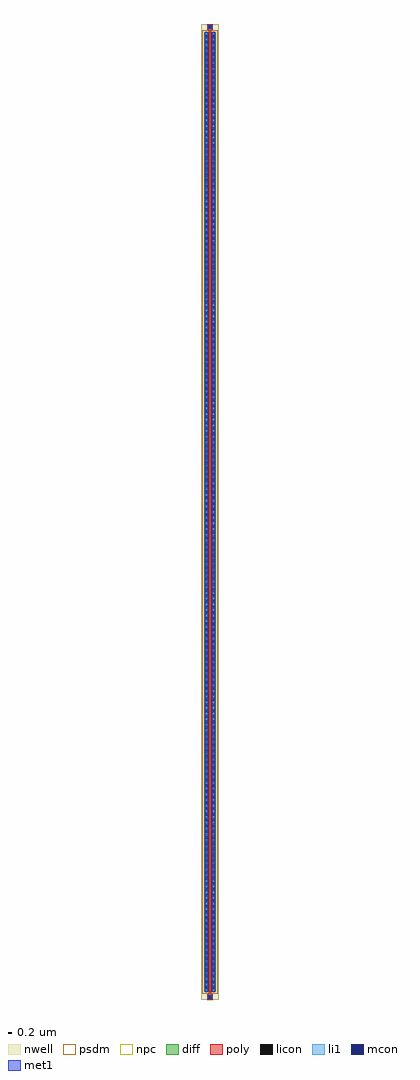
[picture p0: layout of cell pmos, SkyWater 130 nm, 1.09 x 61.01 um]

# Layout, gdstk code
import gdstk
lib = gdstk.Library(unit=1e-6, precision=1e-09)
def R(c, l, rs):  # rectangles x0, y0, x1, y1
    for r in rs: c.add(gdstk.rectangle(r[:2], r[2:], *l))
def A(c, l, x, y, w, h, nx, ny, dx, dy):  # array of equal rectangles
    R(c, l, [(x+i*dx, y+j*dy, x+i*dx+w, y+j*dy+h) for i in range(nx) for j in range(ny)])
nwell = (64, 20)
diff = (65, 20)
poly = (66, 20)
licon = (66, 44)
li1 = (67, 20)
mcon = (67, 44)
met1 = (68, 20)
psdm = (94, 20)
npc = (95, 20)

pmos = lib.new_cell('pmos')
R(pmos, nwell, [(0,0,1.09,61)])
R(pmos, diff, [(0.18,0.5,0.91,60.5)])
R(pmos, poly, [(0.38,0.015,0.71,0.345), (0.47,0.345,0.62,60.655), (0.38,60.655,0.71,60.985)])
A(pmos, licon, 0.24, 0.665, 0.17, 0.17, 1, 176, 0, 0.34)
A(pmos, licon, 0.68, 0.665, 0.17, 0.17, 1, 176, 0, 0.34)
R(pmos, licon, [(0.46,0.095,0.63,0.265), (0.46,60.735,0.63,60.905)])
R(pmos, li1, [(0.38,0.095,0.71,0.265), (0.24,0.48,0.41,60.52), (0.68,0.48,0.85,60.52), (0.38,60.735,0.71,60.905)])
A(pmos, mcon, 0.24, 0.715, 0.17, 0.17, 1, 166, 0, 0.36)
A(pmos, mcon, 0.68, 0.715, 0.17, 0.17, 1, 166, 0, 0.36)
R(pmos, mcon, [(0.46,0.095,0.63,0.265), (0.46,60.735,0.63,60.905)])
R(pmos, met1, [(0.4,0.065,0.69,0.295), (0.21,0.5,0.44,60.5), (0.65,0.5,0.88,60.5), (0.4,60.705,0.69,60.935)])
R(pmos, psdm, [(0.055,0.375,1.035,60.625)])
R(pmos, npc, [(0.36,-0.005,0.73,0.365), (0.36,60.635,0.73,61.005)])

lib.write_gds('pmos.gds')
